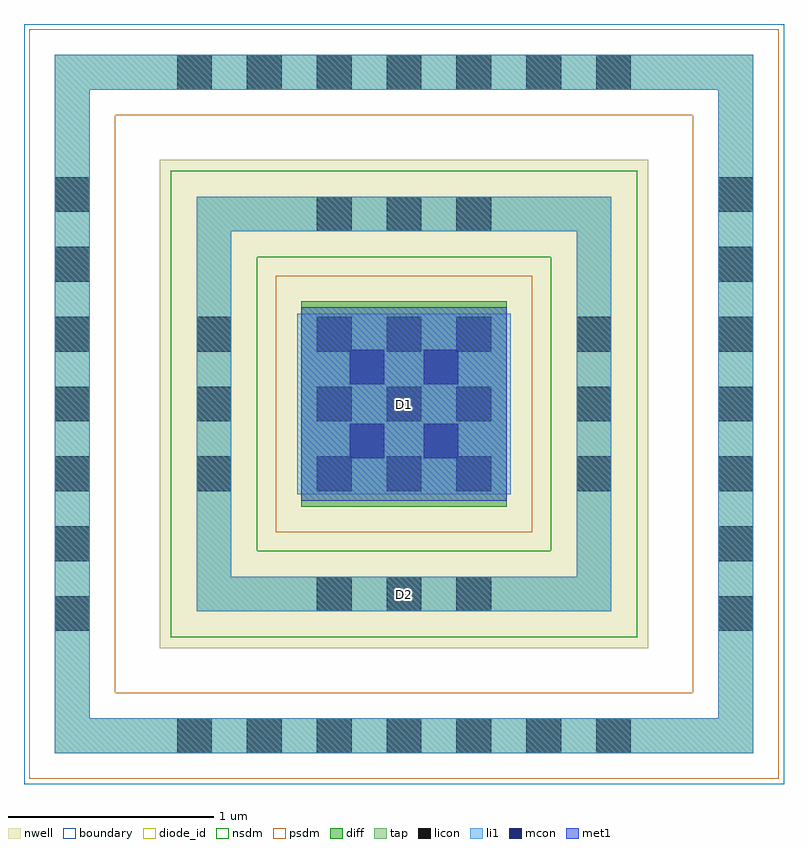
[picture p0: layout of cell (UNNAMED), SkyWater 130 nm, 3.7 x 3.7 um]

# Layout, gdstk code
import gdstk
lib = gdstk.Library(unit=1e-6, precision=1e-09)
def R(c, l, rs):  # rectangles x0, y0, x1, y1
    for r in rs: c.add(gdstk.rectangle(r[:2], r[2:], *l))
def A(c, l, x, y, w, h, nx, ny, dx, dy):  # array of equal rectangles
    R(c, l, [(x+i*dx, y+j*dy, x+i*dx+w, y+j*dy+h) for i in range(nx) for j in range(ny)])
nwell = (64, 20)
diff = (65, 20)
tap = (65, 44)
licon = (66, 44)
li1 = (67, 20)
mcon = (67, 44)
met1 = (68, 20)
diode_id = (81, 23)
nsdm = (93, 44)
psdm = (94, 20)
boundary = (235, 4)

c__unnamed_ = lib.new_cell('(UNNAMED)')
R(c__unnamed_, nwell, [(-1.19,-1.19,1.19,1.19)])
R(c__unnamed_, diff, [(-0.5,-0.5,0.5,0.5)])
R(c__unnamed_, tap, [(-1.7,-1.7,1.7,-1.53), (-1.7,-1.53,-1.53,1.53), (1.53,-1.53,1.7,1.53), (-1.01,-1.01,1.01,-0.84), (-1.01,-0.84,-0.84,0.84), (0.84,-0.84,1.01,0.84), (-1.01,0.84,1.01,1.01), (-1.7,1.53,1.7,1.7)])
A(c__unnamed_, licon, -1.105, -1.7, 0.17, 0.17, 7, 2, 0.34, 3.23)
A(c__unnamed_, licon, -1.7, -1.105, 0.17, 0.17, 1, 7, 0, 0.34)
A(c__unnamed_, licon, 1.53, -1.105, 0.17, 0.17, 1, 7, 0, 0.34)
A(c__unnamed_, licon, -0.425, -1.01, 0.17, 0.17, 3, 2, 0.34, 0.585)
A(c__unnamed_, licon, -1.01, -0.425, 0.17, 0.17, 1, 3, 0, 0.34)
A(c__unnamed_, licon, 0.84, -0.425, 0.17, 0.17, 1, 3, 0, 0.34)
A(c__unnamed_, licon, -0.425, -0.085, 0.17, 0.17, 3, 2, 0.34, 0.34)
A(c__unnamed_, licon, -0.425, 0.84, 0.17, 0.17, 3, 1, 0.34, 0)
R(c__unnamed_, li1, [(-1.7,-1.7,1.7,-1.53), (-1.7,-1.53,-1.53,1.53), (1.53,-1.53,1.7,1.53), (-1.01,-1.01,1.01,-0.84), (-1.01,-0.84,-0.84,0.84), (0.84,-0.84,1.01,0.84), (-0.52,-0.44,0.52,0.44), (-1.01,0.84,1.01,1.01), (-1.7,1.53,1.7,1.7)])
R(c__unnamed_, mcon, [(-0.265,-0.265,-0.095,-0.095), (0.095,-0.265,0.265,-0.095), (-0.265,0.095,-0.095,0.265), (0.095,0.095,0.265,0.265)])
R(c__unnamed_, met1, [(-0.5,-0.47,0.5,0.47)])
R(c__unnamed_, diode_id, [(-0.5,-0.5,0.5,0.5)])
R(c__unnamed_, nsdm, [(-1.135,-1.135,1.135,-0.715), (-1.135,-0.715,-0.715,0.715), (0.715,-0.715,1.135,0.715), (-1.135,0.715,1.135,1.135)])
R(c__unnamed_, psdm, [(-1.825,-1.825,1.825,-1.405), (-1.825,-1.405,-1.405,1.405), (1.405,-1.405,1.825,1.405), (-0.625,-0.625,0.625,0.625), (-1.825,1.405,1.825,1.825)])
R(c__unnamed_, boundary, [(-1.85,-1.85,1.85,1.85)])
c__unnamed_.add(gdstk.Label('D2', (0,-0.925), layer=67, texttype=5))
c__unnamed_.add(gdstk.Label('D1', (0,0), layer=67, texttype=5))

lib.write_gds('_UNNAMED_.gds')
